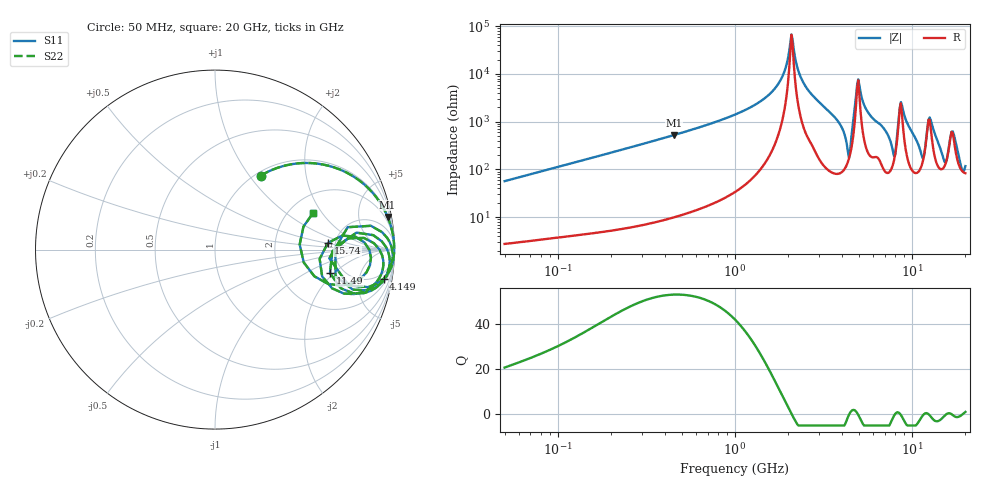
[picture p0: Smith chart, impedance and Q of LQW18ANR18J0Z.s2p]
!Murata Part Number: LQW18ANR18J0Z
!These Parameters are Measured in Series Mode Connection
!  o--[Z]--o
!Port1  Port2
!  o-------o
!Freq. Start=50[MHz] Stop=20[GHz], 401[Steps]
# Hz S RI R 50
!Freq.(Hz) S11(Real) S11(Imag) S21(Real) S21(Imag) S12(Real) S12(Imag) S22(Real) S22(Imag)
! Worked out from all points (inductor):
!   401 points, 50 MHz to 20 GHz, reference 50 ohm
!   read as one part in series: L = 180 nH near 51.52 MHz
!   highest Q = 52.9 at 452.1 MHz (marker M1), where L = 185 nH
!   self-resonance near 2.083 GHz
!   S11 on the Smith chart (normalised r, x): 50 MHz: 1.06, +1.14; 4.149 GHz: 3, -11; 11.49 GHz: 3.91, -1.79; 15.74 GHz: 4.33, +0.53; 20 GHz: 2.67, +1.65
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5e7  0.2545 0.412  0.7455 -0.412  0.7455 -0.412  0.2545 0.412
1.364002e8  0.697 0.4457  0.303 -0.4457  0.303 -0.4457  0.697 0.4457
3.721004e8  0.9441 0.2204  0.0559 -0.2204  0.0559 -0.2204  0.9441 0.2204
4.520922e8  0.9618 0.1825  0.0382 -0.1825  0.0382 -0.1825  0.9618 0.1825
1e9  0.9933 0.0704  0.00668 -0.0704  0.00668 -0.0704  0.9933 0.0704
1.689197e9  0.9983 0.0195  0.00175 -0.0195  0.00175 -0.0195  0.9983 0.0195
2.083303e9  0.9985 0.000241  0.00147 -0.000241  0.00147 -0.000241  0.9985 0.000241
2.348516e9  0.9982 -0.0114  0.00181 0.0114  0.00181 0.0114  0.9982 -0.0114
2.728004e9  0.9968 -0.0273  0.00315 0.0273  0.00315 0.0273  0.9968 -0.0273
4.149438e9  0.9398 -0.1623  0.0602 0.1623  0.0602 0.1623  0.9398 -0.1623
4.472136e9  0.7392 0.1248  0.2608 -0.1248  0.2608 -0.1248  0.7392 0.1248
4.966507e9  0.9877 -0.00367  0.0123 0.00367  0.0123 0.00367  0.9877 -0.00367
7.442007e9  0.9185 -0.1917  0.0815 0.1917  0.0815 0.1917  0.9185 -0.1917
7.901521e9  0.6715 -0.1476  0.3285 0.1476  0.3285 0.1476  0.6715 -0.1476
8.774992e9  0.9703 -0.0332  0.0297 0.0332  0.0297 0.0332  0.9703 -0.0332
1.149051e10  0.6405 -0.1307  0.3595 0.1307  0.3595 0.1307  0.6405 -0.1307
1.257102e10  0.9316 -0.0328  0.0684 0.0328  0.0684 0.0328  0.9316 -0.0328
1.460232e10  0.7746 -0.2479  0.2254 0.2479  0.2254 0.2479  0.7746 -0.2479
1.573793e10  0.6288 0.0369  0.3712 -0.0369  0.3712 -0.0369  0.6288 0.0369
1.696185e10  0.869 -0.045  0.131 0.045  0.131 0.045  0.869 -0.045
1.855685e10  0.6295 -0.1908  0.3705 0.1908  0.3705 0.1908  0.6295 -0.1908
2e10  0.5463 0.2042  0.4537 -0.2042  0.4537 -0.2042  0.5463 0.2042
